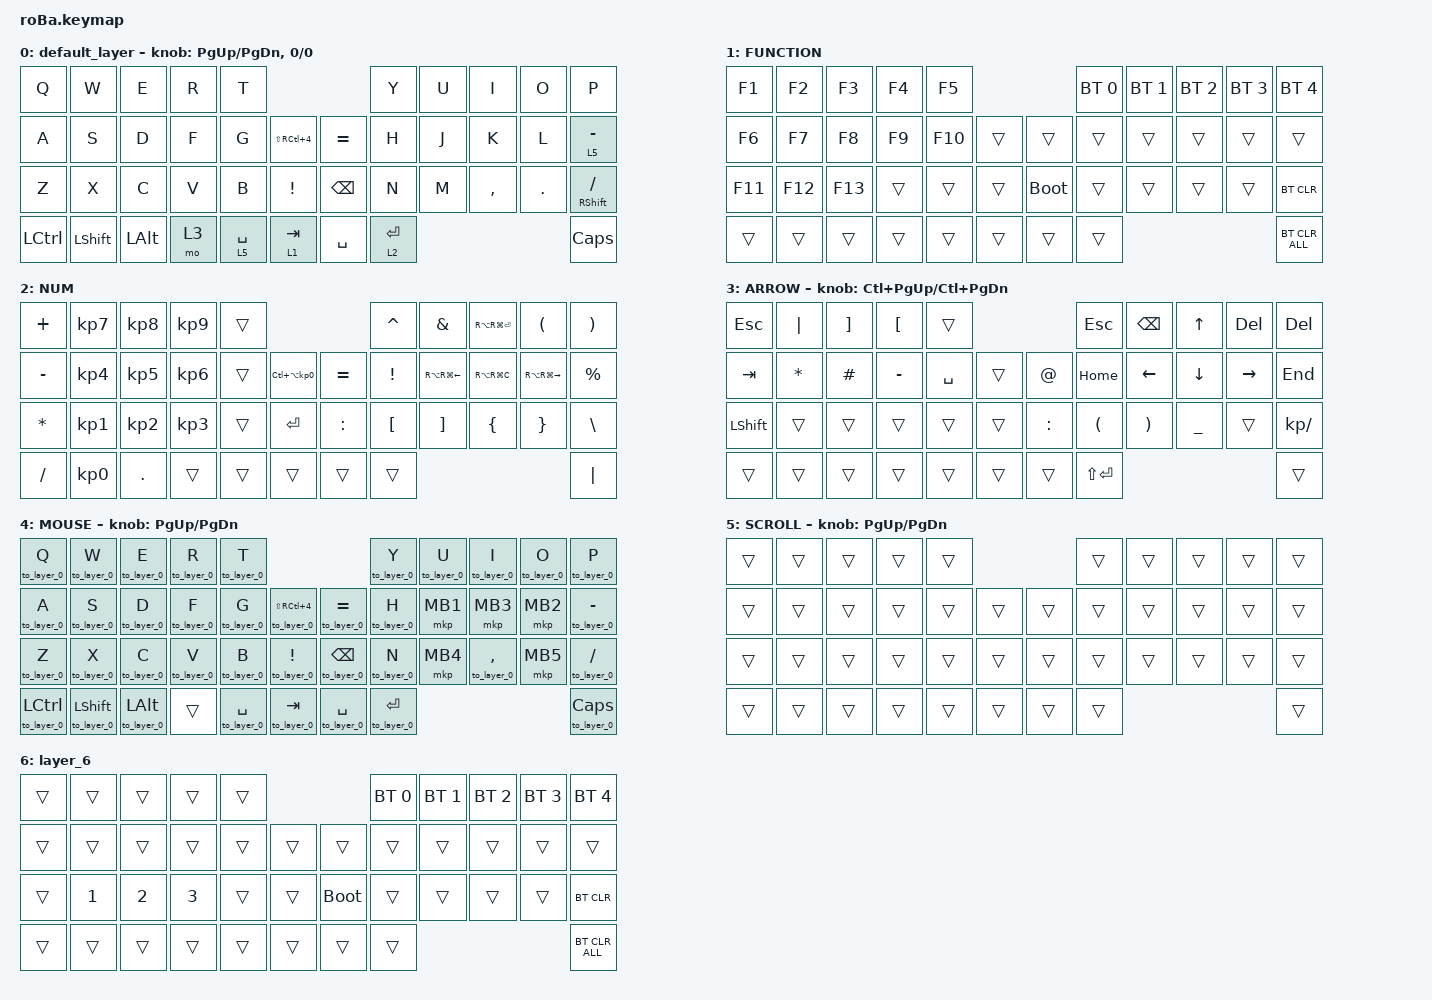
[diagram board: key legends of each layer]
#include <behaviors.dtsi>
#include <dt-bindings/zmk/bt.h>
#include <dt-bindings/zmk/keys.h>
#include <dt-bindings/zmk/pointing.h>

#define MOUSE 4
#define SCROLL 5
#define NUM 6

&mt {
    flavor = "balanced";
    quick-tap-ms = <0>;
};

/ {
    combos {
        compatible = "zmk,combos";

        tab {
            bindings = <&kp TAB>;
            key-positions = <11 12>;
        };

        shift_tab {
            bindings = <&kp LS(TAB)>;
            key-positions = <12 13>;
        };

        muhennkann {
            bindings = <&to_layer_0 INT_MUHENKAN>;
            key-positions = <11 10>;
        };

        double_quotation {
            bindings = <&kp DOUBLE_QUOTES>;
            key-positions = <20 21>;
        };

        eq {
            bindings = <&kp EQUAL>;
            key-positions = <24 25>;
        };
    };

    macros {
        to_layer_0: to_layer_0 {
            compatible = "zmk,behavior-macro-one-param";
            #binding-cells = <1>;
            bindings = <&to 0 &macro_param_1to1 &kp MACRO_PLACEHOLDER>;
            label = "TO_LAYER_0";
        };
    };

    behaviors {
        lt_to_layer_0: lt_to_layer_0 {
            compatible = "zmk,behavior-hold-tap";
            label = "LAYER_TAP_TO_0";
            bindings = <&mo>, <&to_layer_0>;

            #binding-cells = <2>;
            tapping-term-ms = <200>;
        };
    };

    keymap {
        compatible = "zmk,keymap";

        default_layer {
            bindings = <
&kp Q             &kp W           &kp E         &kp R  &kp T                                                 &kp Y        &kp U  &kp I      &kp O    &kp P
&kp A             &kp S           &kp D         &kp F  &kp G        &kp LS(RC(NUMBER_4))      &kp EQUAL      &kp H        &kp J  &kp K      &kp L    &lt 5 MINUS
&kp Z             &kp X           &kp C         &kp V  &kp B        &kp EXCLAMATION           &kp BACKSPACE  &kp N        &kp M  &kp COMMA  &kp DOT  &mt RIGHT_SHIFT SLASH
&kp LEFT_CONTROL  &kp LEFT_SHIFT  &kp LEFT_ALT  &mo 3  &lt 5 SPACE  &lt_to_layer_0 1 TAB      &kp SPACE      &lt 2 ENTER                             &kp CAPSLOCK
            >;

            sensor-bindings = <&inc_dec_kp PG_UP PAGE_DOWN>, <&inc_dec_kp 0 0>;
        };

        FUNCTION {
            bindings = <
&kp F1   &kp F2   &kp F3   &kp F4  &kp F5                            &bt BT_SEL 0  &bt BT_SEL 1  &bt BT_SEL 2  &bt BT_SEL 3  &bt BT_SEL 4
&kp F6   &kp F7   &kp F8   &kp F9  &kp F10  &trans      &trans       &trans        &trans        &trans        &trans        &trans
&kp F11  &kp F12  &kp F13  &trans  &trans   &trans      &bootloader  &trans        &trans        &trans        &trans        &bt BT_CLR
&trans   &trans   &trans   &trans  &trans   &trans      &trans       &trans                                                  &bt BT_CLR_ALL
            >;
        };

        NUM {
            bindings = <
&kp PLUS      &kp KP_NUMBER_7  &kp KP_NUMBER_8  &kp KP_NUMBER_9  &trans                                          &kp CARET         &kp AMPERSAND           &kp RA(RG(RETURN))  &kp LEFT_PARENTHESIS     &kp RIGHT_PARENTHESIS
&kp MINUS     &kp KP_NUMBER_4  &kp KP_NUMBER_5  &kp KP_NUMBER_6  &trans  &kp LC(LA(KP_NUMBER_0))      &kp EQUAL  &kp EXCLAMATION   &kp RA(RG(LEFT_ARROW))  &kp RA(RG(C))       &kp RA(RG(RIGHT_ARROW))  &kp PERCENT
&kp ASTERISK  &kp KP_NUMBER_1  &kp KP_NUMBER_2  &kp KP_NUMBER_3  &trans  &kp ENTER                    &kp COLON  &kp LEFT_BRACKET  &kp RIGHT_BRACKET       &kp LEFT_BRACE      &kp RIGHT_BRACE          &kp BACKSLASH
&kp SLASH     &kp KP_NUMBER_0  &kp PERIOD       &trans           &trans  &trans                       &trans     &trans                                                                                 &kp PIPE
            >;
        };

        ARROW {
            bindings = <
&kp ESCAPE      &kp PIPE      &kp RIGHT_BRACKET  &kp LEFT_BRACKET  &trans                              &kp ESCAPE            &kp BSPC               &kp UP_ARROW    &kp DEL          &kp DEL
&kp TAB         &kp ASTERISK  &kp HASH           &kp MINUS         &kp SPACE  &trans      &kp AT_SIGN  &kp HOME              &kp LEFT               &kp DOWN_ARROW  &kp RIGHT_ARROW  &kp END
&kp LEFT_SHIFT  &trans        &trans             &trans            &trans     &trans      &kp COLON    &kp LEFT_PARENTHESIS  &kp RIGHT_PARENTHESIS  &kp UNDERSCORE  &trans           &kp KP_SLASH
&trans          &trans        &trans             &trans            &trans     &trans      &trans       &kp LS(RETURN)                                                                &trans
            >;

            sensor-bindings = <&inc_dec_kp LC(PAGE_UP) LC(PAGE_DOWN)>;
        };

        MOUSE {
            bindings = <
&to_layer_0 Q             &to_layer_0 W           &to_layer_0 E         &to_layer_0 R  &to_layer_0 T                                                               &to_layer_0 Y      &to_layer_0 U  &to_layer_0 I      &to_layer_0 O  &to_layer_0 P
&to_layer_0 A             &to_layer_0 S           &to_layer_0 D         &to_layer_0 F  &to_layer_0 G      &to_layer_0 LS(RC(NUMBER_4))      &to_layer_0 EQUAL      &to_layer_0 H      &mkp MB1       &mkp MB3           &mkp MB2       &to_layer_0 MINUS
&to_layer_0 Z             &to_layer_0 X           &to_layer_0 C         &to_layer_0 V  &to_layer_0 B      &to_layer_0 EXCLAMATION           &to_layer_0 BACKSPACE  &to_layer_0 N      &mkp MB4       &to_layer_0 COMMA  &mkp MB5       &to_layer_0 SLASH
&to_layer_0 LEFT_CONTROL  &to_layer_0 LEFT_SHIFT  &to_layer_0 LEFT_ALT  &trans         &to_layer_0 SPACE  &to_layer_0 TAB                   &to_layer_0 SPACE      &to_layer_0 ENTER                                                   &to_layer_0 CAPS
            >;

            sensor-bindings = <&inc_dec_kp PAGE_UP PAGE_DOWN>;
        };

        SCROLL {
            bindings = <
&trans  &trans  &trans  &trans  &trans                      &trans  &trans  &trans  &trans  &trans
&trans  &trans  &trans  &trans  &trans  &trans      &trans  &trans  &trans  &trans  &trans  &trans
&trans  &trans  &trans  &trans  &trans  &trans      &trans  &trans  &trans  &trans  &trans  &trans
&trans  &trans  &trans  &trans  &trans  &trans      &trans  &trans                          &trans
            >;

            sensor-bindings = <&inc_dec_kp PG_UP PAGE_DOWN>;
        };

        layer_6 {
            bindings = <
&trans  &trans        &trans        &trans        &trans                           &bt BT_SEL 0  &bt BT_SEL 1  &bt BT_SEL 2  &bt BT_SEL 3  &bt BT_SEL 4
&trans  &trans        &trans        &trans        &trans  &trans      &trans       &trans        &trans        &trans        &trans        &trans
&trans  &kp NUMBER_1  &kp NUMBER_2  &kp NUMBER_3  &trans  &trans      &bootloader  &trans        &trans        &trans        &trans        &bt BT_CLR
&trans  &trans        &trans        &trans        &trans  &trans      &trans       &trans                                                  &bt BT_CLR_ALL
            >;
        };
    };
};
